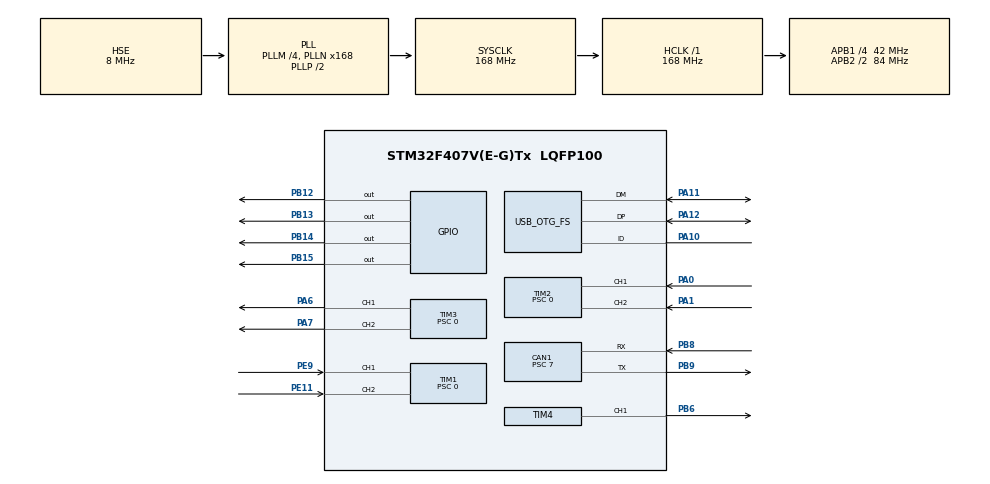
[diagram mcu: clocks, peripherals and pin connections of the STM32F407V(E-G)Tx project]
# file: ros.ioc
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CAN1.ABOM=ENABLE
CAN1.BS1=CAN_BS1_8TQ
CAN1.BS2=CAN_BS2_3TQ
CAN1.CalculateBaudRate=500000
CAN1.CalculateTimeBit=2000
CAN1.CalculateTimeQuantum=142.85714285714286
CAN1.NART=DISABLE
CAN1.Prescaler=7
CAN1.SJW=CAN_SJW_1TQ
CAN1.TXFP=ENABLE
Mcu.Family=STM32F4
Mcu.Name=STM32F407V(E-G)Tx
Mcu.Package=LQFP100
NVIC.CAN1_RX0_IRQn=true\:0\:0\:false\:false\:true\:true\:true\:true
NVIC.CAN1_RX1_IRQn=true\:0\:0\:false\:false\:true\:true\:true\:true
NVIC.CAN1_SCE_IRQn=true\:0\:0\:false\:false\:true\:true\:true\:true
NVIC.CAN1_TX_IRQn=true\:0\:0\:false\:false\:true\:true\:true\:true
NVIC.PriorityGroup=NVIC_PRIORITYGROUP_4
NVIC.RCC_IRQn=true\:0\:0\:false\:false\:true\:true\:false\:true
NVIC.TIM1_BRK_TIM9_IRQn=true\:0\:0\:false\:false\:true\:true\:true\:true
NVIC.TIM1_CC_IRQn=true\:0\:0\:false\:false\:true\:true\:true\:true
NVIC.TIM1_TRG_COM_TIM11_IRQn=true\:0\:0\:false\:false\:true\:true\:true\:true
NVIC.TIM1_UP_TIM10_IRQn=true\:0\:0\:false\:false\:true\:true\:true\:true
NVIC.TIM2_IRQn=true\:0\:0\:false\:false\:true\:true\:true\:true
NVIC.TIM3_IRQn=true\:0\:0\:false\:false\:true\:true\:true\:true
NVIC.TIM6_DAC_IRQn=true\:0\:0\:false\:false\:true\:true\:true\:true
PA0-WKUP.Signal=S_TIM2_CH1_ETR
PA1.Signal=S_TIM2_CH2
PA10.Mode=OTG/Dual_Role_Device
PA10.Signal=USB_OTG_FS_ID
PA11.Mode=OTG/Dual_Role_Device
PA11.Signal=USB_OTG_FS_DM
PA12.Mode=OTG/Dual_Role_Device
PA12.Signal=USB_OTG_FS_DP
PA13.Mode=Serial_Wire
PA13.Signal=SYS_JTMS-SWDIO
PA14.Mode=Serial_Wire
PA14.Signal=SYS_JTCK-SWCLK
PA6.Signal=S_TIM3_CH1
PA7.Signal=S_TIM3_CH2
PB6.Signal=S_TIM4_CH1
PB12.Signal=GPIO_Output
PB13.Signal=GPIO_Output
PB14.Signal=GPIO_Output
PB15.Signal=GPIO_Output
PB8.Mode=CAN_Activate
PB8.Signal=CAN1_RX
PB9.Mode=CAN_Activate
PB9.Signal=CAN1_TX
PC14-OSC32_IN.Mode=LSE-External-Oscillator
PC14-OSC32_IN.Signal=RCC_OSC32_IN
PC15-OSC32_OUT.Mode=LSE-External-Oscillator
PC15-OSC32_OUT.Signal=RCC_OSC32_OUT
PE11.Signal=S_TIM1_CH2
PE9.Signal=S_TIM1_CH1
PH0-OSC_IN.Mode=HSE-External-Oscillator
PH0-OSC_IN.Signal=RCC_OSC_IN
PH1-OSC_OUT.Mode=HSE-External-Oscillator
PH1-OSC_OUT.Signal=RCC_OSC_OUT
ProjectManager.HeapSize=0x200
ProjectManager.StackSize=0x400
ProjectManager.TargetToolchain=CMake
RCC.48MHZClocksFreq_Value=48000000
RCC.AHBFreq_Value=168000000
RCC.APB1CLKDivider=RCC_HCLK_DIV4
RCC.APB1Freq_Value=42000000
RCC.APB1TimFreq_Value=84000000
RCC.APB2CLKDivider=RCC_HCLK_DIV2
RCC.APB2Freq_Value=84000000
RCC.APB2TimFreq_Value=168000000
RCC.CortexFreq_Value=168000000
RCC.HCLKFreq_Value=168000000
RCC.HSE_VALUE=8000000
RCC.HSI_VALUE=16000000
RCC.PLLM=4
RCC.PLLN=168
RCC.PLLQ=7
RCC.SYSCLKFreq_VALUE=168000000
RCC.SYSCLKSource=RCC_SYSCLKSOURCE_PLLCLK
RCC.VCOOutputFreq_Value=336000000
SH.S_TIM1_CH1.0=TIM1_CH1,Encoder_Interface
SH.S_TIM1_CH2.0=TIM1_CH2,Encoder_Interface
SH.S_TIM2_CH1_ETR.0=TIM2_CH1,Encoder_Interface
SH.S_TIM2_CH2.0=TIM2_CH2,Encoder_Interface
SH.S_TIM3_CH1.0=TIM3_CH1,PWM Generation1 CH1
SH.S_TIM3_CH2.0=TIM3_CH2,PWM Generation2 CH2
SH.S_TIM4_CH1.0=TIM4_CH1,PWM Generation1 CH1
TIM1.AutoReloadPreload=TIM_AUTORELOAD_PRELOAD_ENABLE
TIM1.EncoderMode=TIM_ENCODERMODE_TI12
TIM1.Period=65535
TIM1.Prescaler=0
TIM2.AutoReloadPreload=TIM_AUTORELOAD_PRELOAD_ENABLE
TIM2.EncoderMode=TIM_ENCODERMODE_TI12
TIM2.Period=0xFFFFFFFFU
TIM2.Prescaler=0
TIM3.AutoReloadPreload=TIM_AUTORELOAD_PRELOAD_ENABLE
TIM3.Channel-PWM\ Generation1\ CH1=TIM_CHANNEL_1
TIM3.Channel-PWM\ Generation2\ CH2=TIM_CHANNEL_2
TIM3.Period=4200-1
TIM3.Prescaler=0
TIM4.AutoReloadPreload=TIM_AUTORELOAD_PRELOAD_ENABLE
TIM4.Channel-PWM\ Generation1\ CH1=TIM_CHANNEL_1
TIM4.Period=20000-1
TIM4.Prescaler=84-1
TIM6.AutoReloadPreload=TIM_AUTORELOAD_PRELOAD_ENABLE
TIM6.Period=1000-1
TIM6.Prescaler=84-1
VP_TIM3_VS_ClockSourceINT.Mode=Internal
VP_TIM6_VS_ClockSourceINT.Mode=Enable_Timer
board=custom

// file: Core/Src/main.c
/* USER CODE BEGIN Header */
/**
  ******************************************************************************
  * @file           : main.c
  * @brief          : Main program body
  ******************************************************************************
  * @attention
  *
  * Copyright (c) 2026 STMicroelectronics.
  * All rights reserved.
  *
  * This software is licensed under terms that can be found in the LICENSE file
  * in the root directory of this software component.
  * If no LICENSE file comes with this software, it is provided AS-IS.
  *
  ******************************************************************************
  */
/* USER CODE END Header */
#include "main.h"
#include "can.h"
#include "tim.h"
#include "usb_otg.h"
#include "gpio.h"

/* USER CODE BEGIN Includes */
#include "bsp_motor.h"
#include "encoder.h"
#include "PID.h"
#include "bsp_bxcan.h"
#include "chassis_control.h"
#include "safety_manager.h"
#include "watchdog.h"
#ifdef AUTOTUNE_SAFE_PROFILE
#include "autotune_safe.h"
#endif
#ifdef BSP_BXCAN_RUN_LOOPBACK_SELF_TEST
#include "bsp_bxcan_loopback.h"
#endif
#if defined(CAN_MOTOR_BENCH_TEST) || defined(CALIBRATION_BENCH_TEST)
#include "can_motor_bench.h"
#endif
#ifdef STEERING_BENCH_TEST
#include "steering_bench.h"
#endif
#ifdef ACKERMANN_BENCH_TEST
#include "ackermann_bench.h"
#endif
#ifdef H4_CHARACTERIZATION_TEST
#include "h4_characterization.h"
#endif

/* USER CODE END Includes */

/* USER CODE BEGIN PV */
#ifdef IWDG_STALL_TEST
volatile uint32_t g_iwdg_stall_result;
#endif
#ifdef SAFE_STOP_WATCHDOG_TEST
volatile uint32_t g_safe_stop_watchdog_result;
#endif

/* USER CODE END PV */

void SystemClock_Config(void);

int main(void)
{

  /* MCU Configuration--------------------------------------------------------*/

  /* Reset of all peripherals, Initializes the Flash interface and the Systick. */
  HAL_Init();

  /* Configure the system clock */
  SystemClock_Config();

  /* Initialize all configured peripherals */
  MX_GPIO_Init();
  MX_CAN1_Init();
  MX_TIM1_Init();
  MX_TIM2_Init();
  MX_TIM3_Init();
  MX_TIM4_Init();
  MX_TIM6_Init();
  MX_USB_OTG_FS_USB_Init();
  BSP_Watchdog_Init();
#ifdef IWDG_STALL_TEST
  /* First boot deliberately stops feeding. After the watchdog reset, hold
     the target while feeding so the debugger can inspect the reset flag and
     result without another immediate reset. */
  if (__HAL_RCC_GET_FLAG(RCC_FLAG_IWDGRST) != RESET) {
    g_iwdg_stall_result = 0x49574447UL;
    while (1) {
      BSP_Watchdog_Feed();
    }
  }
  while (1) {
  }
#endif
  /* USER CODE BEGIN 2 */
  HAL_TIM_Base_Start_IT(&htim6);

#ifdef SAFE_STOP_WATCHDOG_TEST
  /* Inject the non-latched command-timeout condition and keep the controller
     in SAFE_STOP while the normal control path continues feeding IWDG. */
  /* A preceding IWDG probe can leave RCC_CSR_IWDGRST set across a debugger
     download.  Clear that stale reset cause before Safety_Manager_Init so
     this probe measures the normal SAFE_STOP path rather than the latched
     watchdog-reset recovery path. */
  __HAL_RCC_CLEAR_RESET_FLAGS();
  Chassis_ControlInit();
  BSP_BXCAN_SetFault(BSP_BXCAN_FAULT_COMMAND_TIMEOUT, 0U);
  Chassis_ControlProcess(HAL_GetTick());
  {
    uint32_t safe_stop_start = HAL_GetTick();
    while ((uint32_t)(HAL_GetTick() - safe_stop_start) < 3000U) {
      HAL_Delay(1U);
      Chassis_ControlProcess(HAL_GetTick());
      BSP_Watchdog_Feed();
    }
  }
  if (Safety_Manager_GetState() == SAFETY_STATE_SAFE_STOP) {
    g_safe_stop_watchdog_result = 0x53414645UL;
  }
  while (1) {
    HAL_Delay(10U);
    Chassis_ControlProcess(HAL_GetTick());
    BSP_Watchdog_Feed();
  }
#endif

#ifdef MOTOR_BENCH_TEST
  /* 一次性 PWM 台架，按 2026-08-29 spec：200/1000 占空比，结束时 COAST */
  Motor_Init();
  Motor_CoastAll();
  Motor_Drive(1U, 200);
  HAL_Delay(3000);
  Motor_Coast(1U);
  HAL_Delay(1000);
  Motor_Drive(2U, 200);
  HAL_Delay(3000);
  Motor_Coast(2U);
  while (1)
  {
  }
#elif defined(BSP_BXCAN_RUN_LOOPBACK_SELF_TEST)
  BSP_BXCAN_RunLoopbackSelfTest(&hcan1);
  while (1)
  {
  }
#elif defined(CAN_MOTOR_BENCH_TEST)
  CAN_Motor_Bench_Run();
  while (1)
  {
  }
#elif defined(CALIBRATION_BENCH_TEST)
  CAN_Motor_Bench_RunCalibration();
  while (1)
  {
  }
#elif defined(STEERING_BENCH_TEST)
  Steering_Bench_Run();
  while (1)
  {
  }
#elif defined(ACKERMANN_BENCH_TEST)
  Ackermann_Bench_Run();
  while (1)
  {
  }
#elif defined(H4_CHARACTERIZATION_TEST)
  H4_Characterization_Run();
  while (1)
  {
    Chassis_ControlProcessEvents(HAL_GetTick());
  }
#else
#ifdef AUTOTUNE_SAFE_PROFILE
  AutotuneSafe_Init();
#endif
  Chassis_ControlInit();
#endif
  /* USER CODE END 2 */

  /* Infinite loop */
  while (1)
  {

    /* USER CODE BEGIN 3 */
    /* Chassis_ControlProcess(HAL_GetTick()); remains the legacy API spelling;
       production dispatch is event-driven below. */
    Chassis_ControlProcessEvents(HAL_GetTick());
  }
  /* USER CODE END 3 */
}

void SystemClock_Config(void)
{
  RCC_OscInitTypeDef RCC_OscInitStruct = {0};
  RCC_ClkInitTypeDef RCC_ClkInitStruct = {0};

  /** Configure the main internal regulator output voltage
  */
  __HAL_RCC_PWR_CLK_ENABLE();
  __HAL_PWR_VOLTAGESCALING_CONFIG(PWR_REGULATOR_VOLTAGE_SCALE1);

  /** Initializes the RCC Oscillators according to the specified parameters
  * in the RCC_OscInitTypeDef structure.
  */
  RCC_OscInitStruct.OscillatorType = RCC_OSCILLATORTYPE_HSE;
  RCC_OscInitStruct.HSEState = RCC_HSE_ON;
  RCC_OscInitStruct.PLL.PLLState = RCC_PLL_ON;
  RCC_OscInitStruct.PLL.PLLSource = RCC_PLLSOURCE_HSE;
  RCC_OscInitStruct.PLL.PLLM = 4;
  RCC_OscInitStruct.PLL.PLLN = 168;
  RCC_OscInitStruct.PLL.PLLP = RCC_PLLP_DIV2;
  RCC_OscInitStruct.PLL.PLLQ = 7;
  if (HAL_RCC_OscConfig(&RCC_OscInitStruct) != HAL_OK)
  {
    Error_Handler();
  }

  /** Initializes the CPU, AHB and APB buses clocks
  */
  RCC_ClkInitStruct.ClockType = RCC_CLOCKTYPE_HCLK|RCC_CLOCKTYPE_SYSCLK
                              |RCC_CLOCKTYPE_PCLK1|RCC_CLOCKTYPE_PCLK2;
  RCC_ClkInitStruct.SYSCLKSource = RCC_SYSCLKSOURCE_PLLCLK;
  RCC_ClkInitStruct.AHBCLKDivider = RCC_SYSCLK_DIV1;
  RCC_ClkInitStruct.APB1CLKDivider = RCC_HCLK_DIV4;
  RCC_ClkInitStruct.APB2CLKDivider = RCC_HCLK_DIV2;

  if (HAL_RCC_ClockConfig(&RCC_ClkInitStruct, FLASH_LATENCY_5) != HAL_OK)
  {
    Error_Handler();
  }
}

void Error_Handler(void)
{
  __disable_irq();
  while (1)
  {
  }
}
